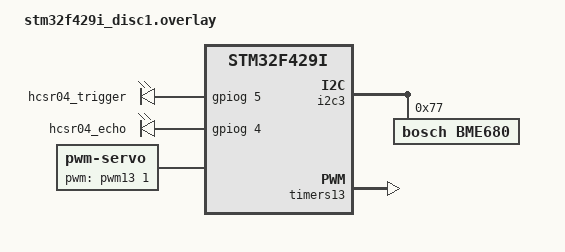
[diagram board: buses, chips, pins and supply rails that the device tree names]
/ {
    leds {
        hcsr04_trigger: hcsr04_trig {
            gpios = <&gpiog 5 GPIO_ACTIVE_HIGH>;  
        };
        hcsr04_echo: hcsr04_ech {
            gpios = <&gpiog 4 GPIO_ACTIVE_HIGH>; 
        };
    };

    aliases {
        ultrasonictrigger = &hcsr04_trigger;
        ultrasonicecho = &hcsr04_echo;
    };

    chosen {
        perso,bme680 = &bme680;
    };

    servo: servo {
        compatible = "pwm-servo";  
        pwms = <&pwm13 1 PWM_MSEC(20) PWM_POLARITY_NORMAL>;
        min-pulse = <PWM_USEC(900)>;
        max-pulse = <PWM_USEC(2100)>;
    };
};

&i2c3 {
    bme680: bme680@77 {
        compatible = "bosch,bme680";
        reg = <0x77>;
        label = "BME680";
    };
};

&timers13 {
    status = "okay";
    st,prescaler = <1000>;

    pwm13: pwm {
        status = "okay";
        pinctrl-0 = <&tim13_ch1_pf8>;
        pinctrl-names = "default";
    };
};

